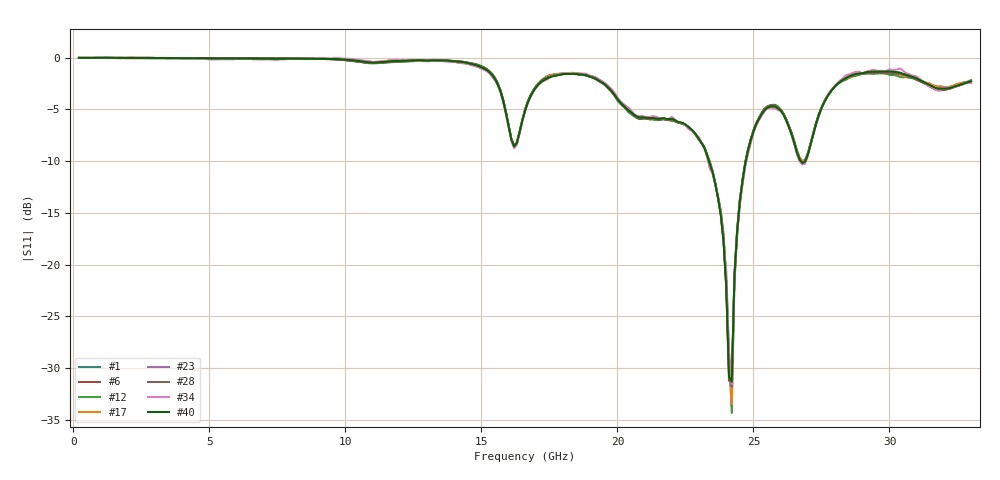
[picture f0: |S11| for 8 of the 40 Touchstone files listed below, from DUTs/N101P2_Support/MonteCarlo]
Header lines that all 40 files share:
# GHZ S RI R 50
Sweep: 200 MHz to 33 GHz
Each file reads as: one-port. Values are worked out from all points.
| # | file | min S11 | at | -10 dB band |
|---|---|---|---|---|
| 1 | N101P2_1.s2p | -31.8 dB | 24.2 GHz | 1.341 GHz wide |
| 2 | N101P2_5.s2p | -34.1 dB | 24.2 GHz | 1.321 GHz wide |
| 3 | N101P2_6.s2p | -33.9 dB | 24.2 GHz | 1.345 GHz wide |
| 4 | N101P2_8.s2p | -33.8 dB | 24.2 GHz | 1.37 GHz wide |
| 5 | N101P2_10.s2p | -31.6 dB | 24.2 GHz | 1.397 GHz wide |
| 6 | N101P2_11.s2p | -31.4 dB | 24.2 GHz | 1.336 GHz wide |
| 7 | N101P2_13.s2p | -32.8 dB | 24.2 GHz | 1.331 GHz wide |
| 8 | N101P2_15.s2p | -33.1 dB | 24.2 GHz | 1.4 GHz wide |
| 9 | N101P2_16.s2p | -31.7 dB | 24.2 GHz | 1.339 GHz wide |
| 10 | N101P2_18.s2p | -31.2 dB | 24.2 GHz | 1.355 GHz wide |
| 11 | N101P2_20.s2p | -32.3 dB | 24.1 GHz | 1.311 GHz wide |
| 12 | N101P2_23.s2p | -34.4 dB | 24.2 GHz | 1.326 GHz wide |
| 13 | N101P2_24.s2p | -33.4 dB | 24.1 GHz | 1.302 GHz wide |
| 14 | N101P2_25.s2p | -31.4 dB | 24.2 GHz | 1.35 GHz wide |
| 15 | N101P2_26.s2p | -34.4 dB | 24.2 GHz | 1.337 GHz wide |
| 16 | N101P2_27.s2p | -34.5 dB | 24.2 GHz | 1.402 GHz wide |
| 17 | N101P2_29.s2p | -33.6 dB | 24.2 GHz | 1.363 GHz wide |
| 18 | N101P2_32.s2p | -34.1 dB | 24.2 GHz | 1.344 GHz wide |
| 19 | N101P2_35.s2p | -31.8 dB | 24.2 GHz | 1.332 GHz wide |
| 20 | N101P2_37.s2p | -35.3 dB | 24.2 GHz | 1.325 GHz wide |
| 21 | N101P2_39.s2p | -34.3 dB | 24.2 GHz | 1.322 GHz wide |
| 22 | N101P2_41.s2p | -31.9 dB | 24.2 GHz | 1.378 GHz wide |
| 23 | N101P2_42.s2p | -31.9 dB | 24.2 GHz | 1.344 GHz wide |
| 24 | N101P2_44.s2p | -34.3 dB | 24.2 GHz | 1.326 GHz wide |
| 25 | N101P2_47.s2p | -35.0 dB | 24.2 GHz | 1.326 GHz wide |
| 26 | N101P2_49.s2p | -31.2 dB | 24.2 GHz | 1.399 GHz wide |
| 27 | N101P2_50.s2p | -34.0 dB | 24.2 GHz | 1.306 GHz wide |
| 28 | N101P2_52.s2p | -31.8 dB | 24.2 GHz | 1.351 GHz wide |
| 29 | N101P2_55.s2p | -34.6 dB | 24.2 GHz | 1.369 GHz wide |
| 30 | N101P2_57.s2p | -32.4 dB | 24.1 GHz | 1.312 GHz wide |
| 31 | N101P2_59.s2p | -31.6 dB | 24.2 GHz | 1.383 GHz wide |
| 32 | N101P2_60.s2p | -34.3 dB | 24.2 GHz | 1.355 GHz wide |
| 33 | N101P2_63.s2p | -34.2 dB | 24.2 GHz | 1.324 GHz wide |
| 34 | N101P2_65.s2p | -31.6 dB | 24.2 GHz | 1.411 GHz wide |
| 35 | N101P2_66.s2p | -36.0 dB | 24.2 GHz | 1.319 GHz wide |
| 36 | N101P2_69.s2p | -31.6 dB | 24.2 GHz | 1.445 GHz wide |
| 37 | N101P2_76.s2p | -33.6 dB | 24.2 GHz | 1.383 GHz wide |
| 38 | N101P2_77.s2p | -32.2 dB | 24.1 GHz | 1.307 GHz wide |
| 39 | N101P2_79.s2p | -32.0 dB | 24.1 GHz | 1.325 GHz wide |
| 40 | N101P2_82.s2p | -31.3 dB | 24.2 GHz | 1.358 GHz wide |
